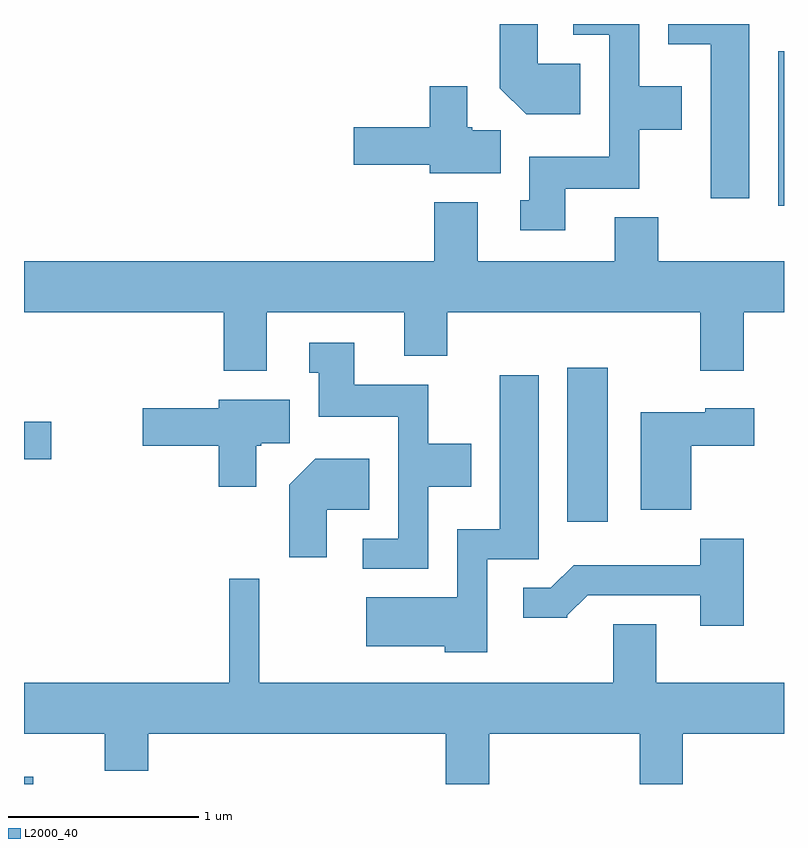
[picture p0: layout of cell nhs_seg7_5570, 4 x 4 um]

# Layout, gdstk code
import gdstk
lib = gdstk.Library(unit=1e-6, precision=1e-09)
def R(c, l, rs):  # rectangles x0, y0, x1, y1
    for r in rs: c.add(gdstk.rectangle(r[:2], r[2:], *l))
def P(c, l, *ps):  # polygons
    for p in ps: c.add(gdstk.Polygon(p, *l))
L2000_40 = (2000, 40)

nhs_seg7_5570 = lib.new_cell('nhs_seg7_5570')
R(nhs_seg7_5570, L2000_40, [(355.611,1736.252,355.659,1736.289), (358.471,1737.631,358.684,1738.444), (355.611,1737.961,355.754,1738.159), (359.581,1739.296,359.611,1740.109)])
P(nhs_seg7_5570, L2000_40, [(358.459,1739.386),(358.849,1739.386),(358.849,1739.696),(359.074,1739.696),(359.074,1739.924),(358.849,1739.924),(358.849,1740.252),(358.503,1740.252),(358.503,1740.196),(358.691,1740.196),(358.691,1739.554),(358.271,1739.554),(358.271,1739.324),(358.223,1739.324),(358.223,1739.166),(358.459,1739.166)],
  [(359.429,1740.252),(359.001,1740.252),(359.001,1740.146),(359.226,1740.146),(359.226,1739.336),(359.429,1739.336)],
  [(358.539,1740.044),(358.314,1740.044),(358.314,1740.252),(358.116,1740.252),(358.116,1739.914),(358.254,1739.776),(358.539,1739.776)],
  [(358.119,1739.694),(357.97,1739.694),(357.97,1739.709),(357.944,1739.709),(357.944,1739.924),(357.746,1739.924),(357.746,1739.709),(357.346,1739.709),(357.346,1739.511),(357.746,1739.511),(357.746,1739.466),(358.119,1739.466)],
  [(356.889,1738.736),(357.611,1738.736),(357.611,1738.506),(357.839,1738.506),(357.839,1738.736),(359.171,1738.736),(359.171,1738.426),(359.399,1738.426),(359.399,1738.736),(359.611,1738.736),(359.611,1739.004),(358.949,1739.004),(358.949,1739.234),(358.721,1739.234),(358.721,1739.004),(357.999,1739.004),(357.999,1739.314),(357.771,1739.314),(357.771,1739.004),(355.611,1739.004),(355.611,1738.736),(356.661,1738.736),(356.661,1738.426),(356.889,1738.426)],
  [(357.739,1737.816),(357.964,1737.816),(357.964,1738.044),(357.739,1738.044),(357.739,1738.354),(357.349,1738.354),(357.349,1738.574),(357.113,1738.574),(357.113,1738.416),(357.161,1738.416),(357.161,1738.186),(357.581,1738.186),(357.581,1737.544),(357.393,1737.544),(357.393,1737.386),(357.739,1737.386)],
  [(358.049,1737.436),(358.319,1737.436),(358.319,1738.404),(358.116,1738.404),(358.116,1737.594),(357.891,1737.594),(357.891,1737.234),(357.411,1737.234),(357.411,1736.976),(357.826,1736.976),(357.826,1736.946),(358.049,1736.946)],
  [(356.834,1738.031),(356.86,1738.031),(356.86,1738.046),(357.009,1738.046),(357.009,1738.274),(356.636,1738.274),(356.636,1738.229),(356.236,1738.229),(356.236,1738.031),(356.636,1738.031),(356.636,1737.816),(356.834,1737.816)],
  [(359.124,1738.031),(359.454,1738.031),(359.454,1738.229),(359.196,1738.229),(359.196,1738.209),(358.856,1738.209),(358.856,1737.696),(359.124,1737.696)],
  [(357.204,1737.696),(357.429,1737.696),(357.429,1737.964),(357.144,1737.964),(357.006,1737.827),(357.006,1737.446),(357.204,1737.446)],
  [(359.399,1737.544),(359.171,1737.544),(359.171,1737.404),(358.504,1737.404),(358.384,1737.284),(358.238,1737.284),(358.238,1737.126),(358.47,1737.126),(358.47,1737.14),(358.577,1737.246),(359.171,1737.246),(359.171,1737.086),(359.399,1737.086)],
  [(358.059,1736.516),(358.851,1736.516),(358.851,1736.252),(359.079,1736.252),(359.079,1736.516),(359.611,1736.516),(359.611,1736.784),(358.939,1736.784),(358.939,1737.094),(358.711,1737.094),(358.711,1736.784),(356.849,1736.784),(356.849,1737.333),(356.691,1737.333),(356.691,1736.784),(355.611,1736.784),(355.611,1736.516),(356.036,1736.516),(356.036,1736.321),(356.264,1736.321),(356.264,1736.516),(357.831,1736.516),(357.831,1736.252),(358.059,1736.252)])

lib.write_gds('nhs_seg7_5570.gds')
